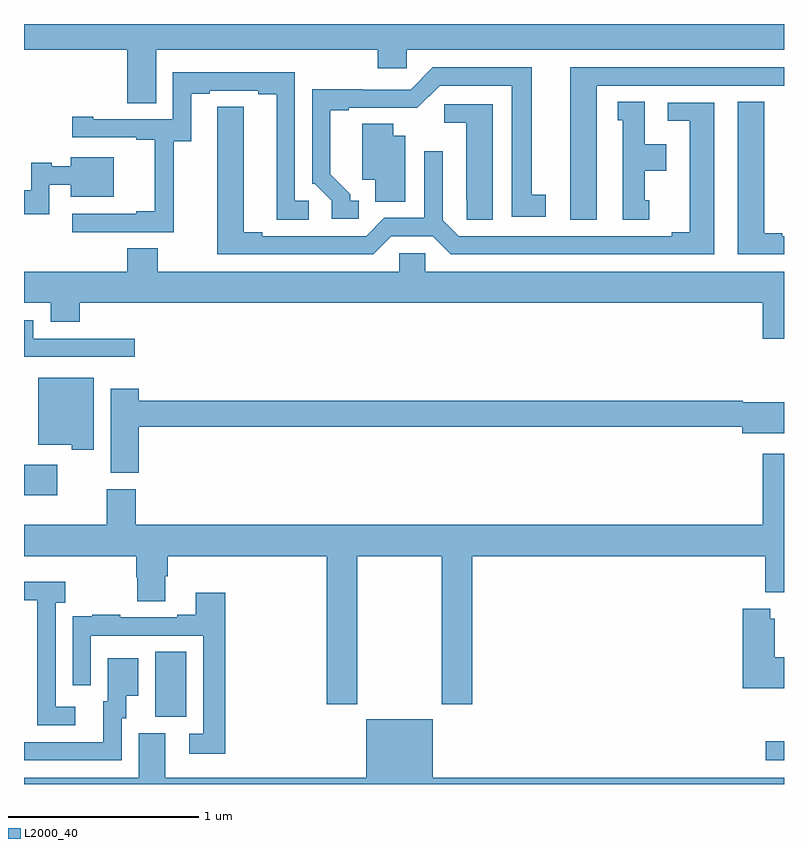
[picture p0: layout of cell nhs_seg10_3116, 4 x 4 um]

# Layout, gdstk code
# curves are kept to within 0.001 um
import gdstk
lib = gdstk.Library(unit=1e-6, precision=1e-09)
def R(c, l, rs):  # rectangles x0, y0, x1, y1
    for r in rs: c.add(gdstk.rectangle(r[:2], r[2:], *l))
def P(c, l, *ps):  # polygons
    for p in ps: c.add(gdstk.Polygon(p, *l))
L2000_40 = (2000, 40)

nhs_seg10_3116 = lib.new_cell('nhs_seg10_3116')
R(nhs_seg10_3116, L2000_40, [(284.904,1248.624,285,1248.725), (281.69,1248.853,281.854,1249.196), (281,1250.021,281.176,1250.179)])
P(nhs_seg10_3116, L2000_40, [(281.695,1252.364),(282.863,1252.364),(282.863,1252.266),(283.014,1252.266),(283.014,1252.364),(285,1252.364),(285,1252.5),(281,1252.5),(281,1252.364),(281.543,1252.364),(281.543,1252.084),(281.695,1252.084)],
  [(284.014,1252.176),(285,1252.176),(285,1252.272),(283.874,1252.272),(283.874,1251.471),(284.014,1251.471)],
  [(282.763,1251.57),(282.718,1251.57),(282.718,1251.605),(282.613,1251.71),(282.613,1252.047),(282.709,1252.047),(282.709,1252.059),(283.07,1252.058),(283.188,1252.176),(283.568,1252.176),(283.568,1251.486),(283.747,1251.486),(283.747,1251.602),(283.672,1251.602),(283.672,1252.272),(283.152,1252.272),(283.035,1252.155),(282.779,1252.155),(282.779,1252.157),(282.516,1252.157),(282.516,1251.66),(282.531,1251.66),(282.621,1251.57),(282.621,1251.474),(282.763,1251.474)],
  [(281.787,1251.883),(281.881,1251.883),(281.881,1252.134),(281.977,1252.134),(281.977,1252.149),(282.233,1252.149),(282.233,1252.129),(282.329,1252.129),(282.329,1251.469),(282.499,1251.469),(282.499,1251.57),(282.426,1251.57),(282.426,1252.245),(281.784,1252.245),(281.784,1251.999),(281.365,1251.999),(281.365,1252.012),(281.253,1252.012),(281.253,1251.903),(281.591,1251.903),(281.591,1251.891),(281.687,1251.891),(281.687,1251.514),(281.591,1251.514),(281.591,1251.501),(281.253,1251.501),(281.253,1251.405),(281.787,1251.405)],
  [(284.29,1251.573),(284.266,1251.573),(284.266,1251.728),(284.38,1251.728),(284.38,1251.868),(284.266,1251.868),(284.266,1252.091),(284.126,1252.091),(284.126,1251.993),(284.15,1251.993),(284.15,1251.471),(284.29,1251.471)],
  [(285,1251.384),(284.992,1251.384),(284.992,1251.399),(284.896,1251.399),(284.896,1252.091),(284.756,1252.091),(284.756,1251.288),(285,1251.288)],
  [(282.933,1251.384),(283.151,1251.384),(283.247,1251.288),(284.632,1251.288),(284.632,1252.086),(284.388,1252.086),(284.388,1251.99),(284.504,1251.99),(284.504,1251.404),(284.408,1251.404),(284.408,1251.384),(283.287,1251.384),(283.203,1251.468),(283.203,1251.829),(283.107,1251.829),(283.107,1251.48),(282.897,1251.48),(282.801,1251.384),(282.253,1251.384),(282.253,1251.404),(282.157,1251.404),(282.157,1252.064),(282.018,1252.064),(282.017,1251.288),(282.837,1251.288)],
  [(283.468,1252.077),(283.212,1252.077),(283.212,1251.98),(283.328,1251.98),(283.328,1251.577),(283.329,1251.577),(283.329,1251.469),(283.468,1251.469)],
  [(283.006,1251.913),(282.943,1251.913),(282.943,1251.974),(282.779,1251.974),(282.779,1251.68),(282.848,1251.68),(282.848,1251.565),(283.006,1251.565)],
  [(281.133,1251.653),(281.246,1251.653),(281.246,1251.59),(281.473,1251.59),(281.473,1251.799),(281.246,1251.799),(281.246,1251.751),(281.145,1251.751),(281.145,1251.77),(281.037,1251.77),(281.037,1251.626),(281,1251.626),(281,1251.498),(281.133,1251.498)],
  [(285,1251.196),(283.113,1251.196),(283.113,1251.294),(282.975,1251.294),(282.975,1251.196),(281.703,1251.196),(281.703,1251.32),(281.543,1251.32),(281.543,1251.196),(281,1251.196),(281,1251.032),(281.141,1251.032),(281.141,1250.933),(281.294,1250.933),(281.294,1251.032),(284.888,1251.032),(284.888,1250.844),(285,1250.844)],
  [(281.584,1250.844),(281.049,1250.844),(281.049,1250.94),(281,1250.94),(281,1250.748),(281.584,1250.748)],
  [(281.368,1250.638),(281.075,1250.638),(281.075,1250.285),(281.25,1250.285),(281.25,1250.258),(281.368,1250.258)],
  [(281.603,1250.38),(284.78,1250.38),(284.78,1250.345),(285,1250.345),(285,1250.509),(284.784,1250.509),(284.784,1250.516),(281.603,1250.516),(281.603,1250.581),(281.456,1250.581),(281.456,1250.137),(281.603,1250.137)],
  [(282.753,1249.7),(283.198,1249.7),(283.198,1248.921),(283.358,1248.921),(283.358,1249.7),(284.9,1249.7),(284.9,1249.508),(285,1249.508),(285,1250.239),(284.888,1250.239),(284.888,1249.864),(281.588,1249.864),(281.588,1250.052),(281.435,1250.052),(281.435,1249.864),(281,1249.864),(281,1249.7),(281.591,1249.7),(281.591,1249.587),(281.596,1249.587),(281.596,1249.462),(281.743,1249.462),(281.743,1249.594),(281.756,1249.594),(281.756,1249.7),(282.593,1249.7),(282.593,1248.921),(282.753,1248.921)],
  [(281.269,1248.906),(281.166,1248.906),(281.166,1249.454),(281.218,1249.454),(281.218,1249.564),(281,1249.564),(281,1249.467),(281.069,1249.467),(281.069,1249.267),(281.07,1249.267),(281.07,1248.81),(281.269,1248.81)],
  [(282.059,1249.507),(281.903,1249.507),(281.903,1249.39),(281.807,1249.39),(281.807,1249.377),(281.507,1249.377),(281.507,1249.39),(281.359,1249.39),(281.359,1249.383),(281.257,1249.383),(281.257,1249.274),(281.256,1249.274),(281.256,1249.02),(281.352,1249.02),(281.352,1249.281),(281.943,1249.281),(281.943,1248.765),(281.871,1248.765),(281.871,1248.66),(282.059,1248.66)],
  [(285,1249.167),(284.95,1249.167),(284.95,1249.369),(284.928,1249.369),(284.928,1249.423),(284.783,1249.423),(284.783,1249.004),(285,1249.004)],
  [(281.514,1248.846),(281.539,1248.846),(281.539,1248.965),(281.602,1248.965),(281.602,1249.162),(281.441,1249.162),(281.441,1248.936),(281.417,1248.936),(281.417,1248.72),(281,1248.72),(281,1248.624),(281.514,1248.624)],
  [(285,1248.532),(283.15,1248.532),(283.15,1248.841),(282.8,1248.841),(282.8,1248.532),(281.743,1248.532),(281.743,1248.768),(281.603,1248.768),(281.603,1248.532),(281,1248.532),(281,1248.5),(285,1248.5)])

lib.write_gds('nhs_seg10_3116.gds')
